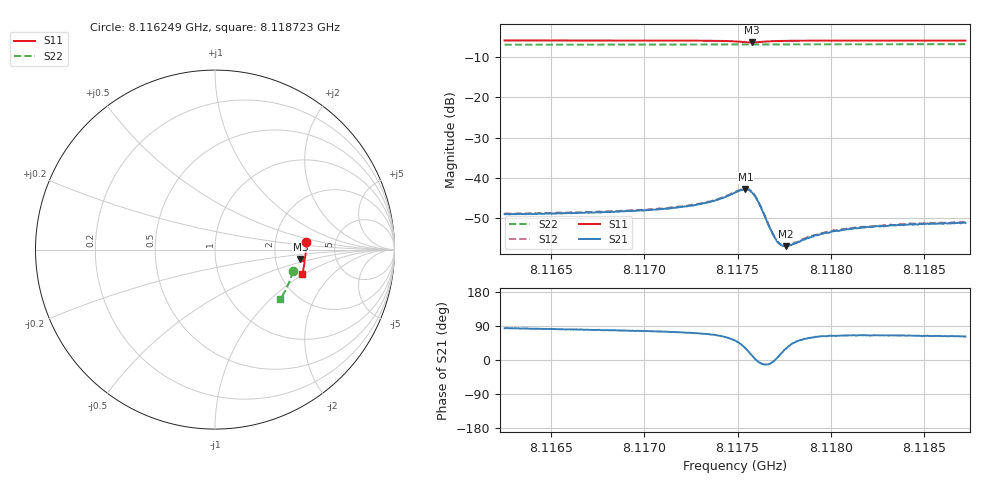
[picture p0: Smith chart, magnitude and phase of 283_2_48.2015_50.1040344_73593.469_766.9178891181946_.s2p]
#  HZ  S  RI  R  50.00
! Rohde & Schwarz Vector Network Analyzer
! Rohde-Schwarz,ZNB20-2Port,1311601062101988,3.16
! Created: UTC 3/20/2024, 11:48:45 AM
! freq[Hz]  re:S11  im:S11  re:S21  im:S21  re:S12  im:S12  re:S22  im:S22
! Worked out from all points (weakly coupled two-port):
!   401 points, 8.116249 GHz to 8.118723 GHz, reference 50 ohm
!   highest |S21| = -42.82 dB at 8.117542 GHz (marker M1); lowest = -56.9 dB at 8.117758 GHz (marker M2)
!   lowest |S11| = -6.4 dB at 8.117579 GHz (marker M3), VSWR 2.84, Z = 139 - j18.8 ohm
!   |S11| at or under -10 dB: nowhere
!   |S22| runs from -7.0 to -6.8 dB; largest |S21 - S12| = 0.00018
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8.1162491e9  0.5054 0.0397  0.000391 0.00353  0.000429 0.00359  0.4331 -0.1186
8.1166635e9  0.5065 0.00821  0.000626 0.00364  0.000704 0.00368  0.4258 -0.1463
8.1170779e9  0.5049 -0.024  0.00104 0.00394  0.00111 0.00404  0.4165 -0.1737
8.1172635e9  0.5027 -0.0399  0.00145 0.00432  0.00154 0.00441  0.4118 -0.1858
8.1173501e9  0.5007 -0.048  0.00191 0.00465  0.00199 0.0047  0.4094 -0.1916
8.1174058e9  0.498 -0.0536  0.00243 0.00493  0.0025 0.00501  0.4078 -0.195
8.1174862e9  0.4901 -0.0617  0.00409 0.00514  0.00424 0.00522  0.4052 -0.2003
8.1175418e9  0.4793 -0.061  0.00619 0.00374  0.00633 0.00376  0.4033 -0.2033
8.1175604e9  0.4764 -0.0572  0.0066 0.00257  0.00676 0.00256  0.4025 -0.2044
8.117579e9  0.476 -0.0523  0.00645 0.00124  0.00657 0.0012  0.4023 -0.2053
8.1176099e9  0.481 -0.0463  0.00507 -0.00038  0.00517 -0.000442  0.4016 -0.207
8.1176779e9  0.4935 -0.0495  0.00226 -0.00036  0.00229 -0.000349  0.4002 -0.2113
8.1177027e9  0.4958 -0.0527  0.00178 2.25e-05  0.00179 -3.39e-06  0.3994 -0.2131
8.1177274e9  0.497 -0.0556  0.00148 0.000374  0.00148 0.000311  0.3988 -0.2146
8.1177583e9  0.4981 -0.0594  0.00125 0.000694  0.00127 0.000707  0.3978 -0.2165
8.1178264e9  0.4989 -0.0667  0.00101 0.00125  0.00104 0.00125  0.3958 -0.221
8.1179006e9  0.4987 -0.0738  0.000976 0.00162  0.000977 0.00167  0.3934 -0.2255
8.117981e9  0.4979 -0.0807  0.000961 0.00185  0.000977 0.0019  0.3908 -0.2308
8.1180552e9  0.4971 -0.0871  0.00096 0.00203  0.00101 0.00203  0.3885 -0.2352
8.1181851e9  0.4953 -0.0972  0.00103 0.00223  0.00105 0.00224  0.3838 -0.2433
8.118315e9  0.4933 -0.1073  0.0011 0.00231  0.00111 0.00236  0.379 -0.2512
8.1187233e9  0.4854 -0.1372  0.0013 0.00245  0.00133 0.00249  0.3637 -0.2752
